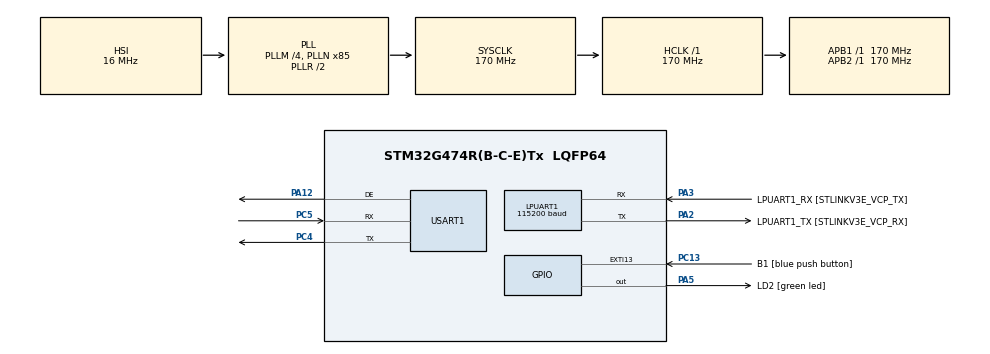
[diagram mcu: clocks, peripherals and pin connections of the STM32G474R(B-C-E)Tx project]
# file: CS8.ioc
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Dma.Request0=USART1_RX
Dma.Request1=USART1_TX
Dma.USART1_RX.0.Direction=DMA_PERIPH_TO_MEMORY
Dma.USART1_RX.0.EventEnable=DISABLE
Dma.USART1_RX.0.Instance=DMA1_Channel1
Dma.USART1_RX.0.MemDataAlignment=DMA_MDATAALIGN_BYTE
Dma.USART1_RX.0.MemInc=DMA_MINC_ENABLE
Dma.USART1_RX.0.Mode=DMA_CIRCULAR
Dma.USART1_RX.0.PeriphDataAlignment=DMA_PDATAALIGN_BYTE
Dma.USART1_RX.0.PeriphInc=DMA_PINC_DISABLE
Dma.USART1_RX.0.Polarity=HAL_DMAMUX_REQ_GEN_RISING
Dma.USART1_RX.0.Priority=DMA_PRIORITY_LOW
Dma.USART1_RX.0.RequestNumber=1
Dma.USART1_RX.0.SignalID=NONE
Dma.USART1_RX.0.SyncEnable=DISABLE
Dma.USART1_RX.0.SyncPolarity=HAL_DMAMUX_SYNC_NO_EVENT
Dma.USART1_RX.0.SyncRequestNumber=1
Dma.USART1_RX.0.SyncSignalID=NONE
Dma.USART1_TX.1.Direction=DMA_MEMORY_TO_PERIPH
Dma.USART1_TX.1.EventEnable=DISABLE
Dma.USART1_TX.1.Instance=DMA1_Channel2
Dma.USART1_TX.1.MemDataAlignment=DMA_MDATAALIGN_BYTE
Dma.USART1_TX.1.MemInc=DMA_MINC_ENABLE
Dma.USART1_TX.1.Mode=DMA_NORMAL
Dma.USART1_TX.1.PeriphDataAlignment=DMA_PDATAALIGN_BYTE
Dma.USART1_TX.1.PeriphInc=DMA_PINC_DISABLE
Dma.USART1_TX.1.Polarity=HAL_DMAMUX_REQ_GEN_RISING
Dma.USART1_TX.1.Priority=DMA_PRIORITY_LOW
Dma.USART1_TX.1.RequestNumber=1
Dma.USART1_TX.1.SignalID=NONE
Dma.USART1_TX.1.SyncEnable=DISABLE
Dma.USART1_TX.1.SyncPolarity=HAL_DMAMUX_SYNC_NO_EVENT
Dma.USART1_TX.1.SyncRequestNumber=1
Dma.USART1_TX.1.SyncSignalID=NONE
LPUART1.BaudRate=115200
LPUART1.WordLength=UART_WORDLENGTH_8B
Mcu.Family=STM32G4
Mcu.Name=STM32G474R(B-C-E)Tx
Mcu.Package=LQFP64
NVIC.DMA1_Channel1_IRQn=true\:0\:0\:false\:false\:true\:false\:true\:true
NVIC.DMA1_Channel2_IRQn=true\:0\:0\:false\:false\:true\:false\:true\:true
NVIC.EXTI15_10_IRQn=true\:0\:0\:false\:false\:true\:true\:true\:true
NVIC.PriorityGroup=NVIC_PRIORITYGROUP_4
NVIC.USART1_IRQn=true\:0\:0\:false\:false\:true\:true\:true\:true
PA12.Mode=Hardware Flow Control (RS485)
PA12.Signal=USART1_DE
PA13.GPIO_Label=T_SWDIO
PA13.Mode=Serial_Wire
PA13.Signal=SYS_JTMS-SWDIO
PA14.GPIO_Label=T_SWCLK
PA14.Mode=Serial_Wire
PA14.Signal=SYS_JTCK-SWCLK
PA2.GPIO_Label=LPUART1_TX [STLINKV3E_VCP_RX]
PA2.Mode=Asynchronous
PA2.Signal=LPUART1_TX
PA3.GPIO_Label=LPUART1_RX [STLINKV3E_VCP_TX]
PA3.Mode=Asynchronous
PA3.Signal=LPUART1_RX
PA5.GPIO_Label=LD2 [green led]
PA5.Signal=GPIO_Output
PB3.GPIO_Label=T_SWO
PB3.Signal=SYS_JTDO-SWO
PC13.GPIO_Label=B1 [blue push button]
PC13.Signal=GPXTI13
PC14-OSC32_IN.Mode=LSE-External-Oscillator
PC14-OSC32_IN.Signal=RCC_OSC32_IN
PC15-OSC32_OUT.Mode=LSE-External-Oscillator
PC15-OSC32_OUT.Signal=RCC_OSC32_OUT
PC4.Mode=Asynchronous
PC4.Signal=USART1_TX
PC5.Mode=Asynchronous
PC5.Signal=USART1_RX
PF0-OSC_IN.Mode=HSE-External-Oscillator
PF0-OSC_IN.Signal=RCC_OSC_IN
PF1-OSC_OUT.Mode=HSE-External-Oscillator
PF1-OSC_OUT.Signal=RCC_OSC_OUT
ProjectManager.HeapSize=0x200
ProjectManager.StackSize=0x400
ProjectManager.TargetToolchain=STM32CubeIDE
RCC.ADC12Freq_Value=170000000
RCC.ADC345Freq_Value=170000000
RCC.AHBFreq_Value=170000000
RCC.APB1Freq_Value=170000000
RCC.APB1TimFreq_Value=170000000
RCC.APB2Freq_Value=170000000
RCC.APB2TimFreq_Value=170000000
RCC.CortexFreq_Value=170000000
RCC.EXTERNAL_CLOCK_VALUE=12288000
RCC.HCLKFreq_Value=170000000
RCC.HSE_VALUE=24000000
RCC.HSI48_VALUE=48000000
RCC.HSI_VALUE=16000000
RCC.PLLM=RCC_PLLM_DIV4
RCC.PLLN=85
RCC.RTCClockSelection=RCC_RTCCLKSOURCE_LSE
RCC.SYSCLKFreq_VALUE=170000000
RCC.SYSCLKSource=RCC_SYSCLKSOURCE_PLLCLK
RCC.USBFreq_Value=170000000
RCC.VCOOutputFreq_Value=340000000
USART1.VirtualMode-Asynchronous=VM_ASYNC
USART1.VirtualMode-Hardware\ Flow\ Control\ (RS485)=VM_ASYNC
VP_SYS_VS_DBSignals.Mode=DisableDeadBatterySignals
board=NUCLEO-G474RE

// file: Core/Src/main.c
/* USER CODE BEGIN Header */
/**
  ******************************************************************************
  * @file           : main.c
  * @brief          : Main program body
  ******************************************************************************
  * @attention
  *
  * Copyright (c) 2025 STMicroelectronics.
  * All rights reserved.
  *
  * This software is licensed under terms that can be found in the LICENSE file
  * in the root directory of this software component.
  * If no LICENSE file comes with this software, it is provided AS-IS.
  *
  ******************************************************************************
  */
/* USER CODE END Header */
#include "main.h"

/* USER CODE BEGIN Includes */
#include "stdio.h"
#include "string.h"
/* USER CODE END Includes */

UART_HandleTypeDef hlpuart1;
UART_HandleTypeDef huart1;
DMA_HandleTypeDef hdma_usart1_rx;
DMA_HandleTypeDef hdma_usart1_tx;

/* USER CODE BEGIN PV */
uint8_t RxBuffer[50];
uint8_t TxBuffer[50];
/* USER CODE END PV */

void SystemClock_Config(void);
static void MX_GPIO_Init(void);
static void MX_DMA_Init(void);
static void MX_LPUART1_UART_Init(void);
static void MX_USART1_UART_Init(void);
/* USER CODE BEGIN PFP */
void UARTConfig();
/* USER CODE END PFP */

int main(void)
{

  /* MCU Configuration--------------------------------------------------------*/

  /* Reset of all peripherals, Initializes the Flash interface and the Systick. */
  HAL_Init();

  /* Configure the system clock */
  SystemClock_Config();

  /* Initialize all configured peripherals */
  MX_GPIO_Init();
  MX_DMA_Init();
  MX_LPUART1_UART_Init();
  MX_USART1_UART_Init();
  /* USER CODE BEGIN 2 */
  uint8_t text[] = "HELLO ^^";
  UARTConfig();

  /* USER CODE END 2 */

  /* Infinite loop */
  while (1)
  {

    /* USER CODE BEGIN 3 */
	  if(HAL_GPIO_ReadPin(B1_GPIO_Port, B1_Pin)){
		  HAL_UART_Transmit(&huart1, text, 9, 10);
	  }
  }
  /* USER CODE END 3 */
}

void SystemClock_Config(void)
{
  RCC_OscInitTypeDef RCC_OscInitStruct = {0};
  RCC_ClkInitTypeDef RCC_ClkInitStruct = {0};

  /** Configure the main internal regulator output voltage
  */
  HAL_PWREx_ControlVoltageScaling(PWR_REGULATOR_VOLTAGE_SCALE1_BOOST);

  /** Initializes the RCC Oscillators according to the specified parameters
  * in the RCC_OscInitTypeDef structure.
  */
  RCC_OscInitStruct.OscillatorType = RCC_OSCILLATORTYPE_HSI;
  RCC_OscInitStruct.HSIState = RCC_HSI_ON;
  RCC_OscInitStruct.HSICalibrationValue = RCC_HSICALIBRATION_DEFAULT;
  RCC_OscInitStruct.PLL.PLLState = RCC_PLL_ON;
  RCC_OscInitStruct.PLL.PLLSource = RCC_PLLSOURCE_HSI;
  RCC_OscInitStruct.PLL.PLLM = RCC_PLLM_DIV4;
  RCC_OscInitStruct.PLL.PLLN = 85;
  RCC_OscInitStruct.PLL.PLLP = RCC_PLLP_DIV2;
  RCC_OscInitStruct.PLL.PLLQ = RCC_PLLQ_DIV2;
  RCC_OscInitStruct.PLL.PLLR = RCC_PLLR_DIV2;
  if (HAL_RCC_OscConfig(&RCC_OscInitStruct) != HAL_OK)
  {
    Error_Handler();
  }

  /** Initializes the CPU, AHB and APB buses clocks
  */
  RCC_ClkInitStruct.ClockType = RCC_CLOCKTYPE_HCLK|RCC_CLOCKTYPE_SYSCLK
                              |RCC_CLOCKTYPE_PCLK1|RCC_CLOCKTYPE_PCLK2;
  RCC_ClkInitStruct.SYSCLKSource = RCC_SYSCLKSOURCE_PLLCLK;
  RCC_ClkInitStruct.AHBCLKDivider = RCC_SYSCLK_DIV1;
  RCC_ClkInitStruct.APB1CLKDivider = RCC_HCLK_DIV1;
  RCC_ClkInitStruct.APB2CLKDivider = RCC_HCLK_DIV1;

  if (HAL_RCC_ClockConfig(&RCC_ClkInitStruct, FLASH_LATENCY_4) != HAL_OK)
  {
    Error_Handler();
  }
}

static void MX_LPUART1_UART_Init(void)
{

  hlpuart1.Instance = LPUART1;
  hlpuart1.Init.BaudRate = 115200;
  hlpuart1.Init.WordLength = UART_WORDLENGTH_8B;
  hlpuart1.Init.StopBits = UART_STOPBITS_1;
  hlpuart1.Init.Parity = UART_PARITY_NONE;
  hlpuart1.Init.Mode = UART_MODE_TX_RX;
  hlpuart1.Init.HwFlowCtl = UART_HWCONTROL_NONE;
  hlpuart1.Init.OneBitSampling = UART_ONE_BIT_SAMPLE_DISABLE;
  hlpuart1.Init.ClockPrescaler = UART_PRESCALER_DIV1;
  hlpuart1.AdvancedInit.AdvFeatureInit = UART_ADVFEATURE_NO_INIT;
  if (HAL_UART_Init(&hlpuart1) != HAL_OK)
  {
    Error_Handler();
  }
  if (HAL_UARTEx_SetTxFifoThreshold(&hlpuart1, UART_TXFIFO_THRESHOLD_1_8) != HAL_OK)
  {
    Error_Handler();
  }
  if (HAL_UARTEx_SetRxFifoThreshold(&hlpuart1, UART_RXFIFO_THRESHOLD_1_8) != HAL_OK)
  {
    Error_Handler();
  }
  if (HAL_UARTEx_DisableFifoMode(&hlpuart1) != HAL_OK)
  {
    Error_Handler();
  }

}

static void MX_USART1_UART_Init(void)
{

  huart1.Instance = USART1;
  huart1.Init.BaudRate = 115200;
  huart1.Init.WordLength = UART_WORDLENGTH_8B;
  huart1.Init.StopBits = UART_STOPBITS_1;
  huart1.Init.Parity = UART_PARITY_NONE;
  huart1.Init.Mode = UART_MODE_TX_RX;
  huart1.Init.HwFlowCtl = UART_HWCONTROL_NONE;
  huart1.Init.OverSampling = UART_OVERSAMPLING_16;
  huart1.Init.OneBitSampling = UART_ONE_BIT_SAMPLE_DISABLE;
  huart1.Init.ClockPrescaler = UART_PRESCALER_DIV1;
  huart1.AdvancedInit.AdvFeatureInit = UART_ADVFEATURE_NO_INIT;
  if (HAL_RS485Ex_Init(&huart1, UART_DE_POLARITY_HIGH, 0, 0) != HAL_OK)
  {
    Error_Handler();
  }
  if (HAL_UARTEx_SetTxFifoThreshold(&huart1, UART_TXFIFO_THRESHOLD_1_8) != HAL_OK)
  {
    Error_Handler();
  }
  if (HAL_UARTEx_SetRxFifoThreshold(&huart1, UART_RXFIFO_THRESHOLD_1_8) != HAL_OK)
  {
    Error_Handler();
  }
  if (HAL_UARTEx_DisableFifoMode(&huart1) != HAL_OK)
  {
    Error_Handler();
  }

}

static void MX_DMA_Init(void)
{

  /* DMA controller clock enable */
  __HAL_RCC_DMAMUX1_CLK_ENABLE();
  __HAL_RCC_DMA1_CLK_ENABLE();

  /* DMA interrupt init */
  /* DMA1_Channel1_IRQn interrupt configuration */
  HAL_NVIC_SetPriority(DMA1_Channel1_IRQn, 0, 0);
  HAL_NVIC_EnableIRQ(DMA1_Channel1_IRQn);
  /* DMA1_Channel2_IRQn interrupt configuration */
  HAL_NVIC_SetPriority(DMA1_Channel2_IRQn, 0, 0);
  HAL_NVIC_EnableIRQ(DMA1_Channel2_IRQn);

}

static void MX_GPIO_Init(void)
{
  GPIO_InitTypeDef GPIO_InitStruct = {0};

  /* GPIO Ports Clock Enable */
  __HAL_RCC_GPIOC_CLK_ENABLE();
  __HAL_RCC_GPIOF_CLK_ENABLE();
  __HAL_RCC_GPIOA_CLK_ENABLE();
  __HAL_RCC_GPIOB_CLK_ENABLE();

  /*Configure GPIO pin Output Level */
  HAL_GPIO_WritePin(LD2_GPIO_Port, LD2_Pin, GPIO_PIN_RESET);

  /*Configure GPIO pin : B1_Pin */
  GPIO_InitStruct.Pin = B1_Pin;
  GPIO_InitStruct.Mode = GPIO_MODE_IT_RISING;
  GPIO_InitStruct.Pull = GPIO_NOPULL;
  HAL_GPIO_Init(B1_GPIO_Port, &GPIO_InitStruct);

  /*Configure GPIO pin : LD2_Pin */
  GPIO_InitStruct.Pin = LD2_Pin;
  GPIO_InitStruct.Mode = GPIO_MODE_OUTPUT_PP;
  GPIO_InitStruct.Pull = GPIO_NOPULL;
  GPIO_InitStruct.Speed = GPIO_SPEED_FREQ_LOW;
  HAL_GPIO_Init(LD2_GPIO_Port, &GPIO_InitStruct);

  /* EXTI interrupt init*/
  HAL_NVIC_SetPriority(EXTI15_10_IRQn, 0, 0);
  HAL_NVIC_EnableIRQ(EXTI15_10_IRQn);

}

/* USER CODE BEGIN 4 */
void UARTConfig()
{
	HAL_UART_Receive_DMA(&huart1, RxBuffer, 32);
}

void HAL_UART_RxCpltCallback(UART_HandleTypeDef *huart)
{
	if(huart == &huart1)
	{
		RxBuffer[32] = '\0';

		sprintf((char*)TxBuffer,"Received : %s\r\n",RxBuffer);
		HAL_UART_Transmit_DMA(&huart1, TxBuffer, strlen((char*)TxBuffer));

	}
}

/* USER CODE END 4 */

void Error_Handler(void)
{
  __disable_irq();
  while (1)
  {
  }
}
